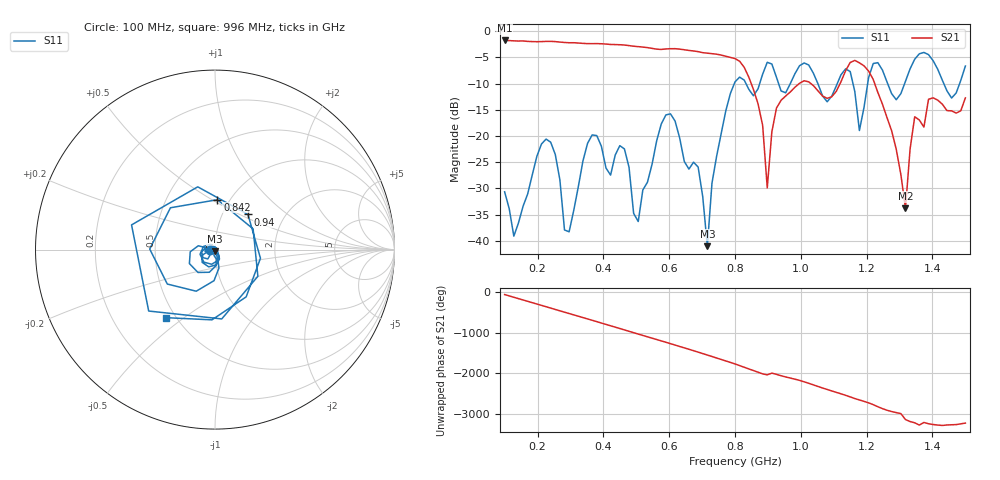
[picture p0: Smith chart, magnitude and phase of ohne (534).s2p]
! NanoVNA-App
! Date: 2025-09-25 14:24:57
! Start: 100MHz Stop: 1,5GHz Points: 101
! S-Parameter data: F S11 S21 S12 S22
# Hz S RI R 50
!  Frequency  S11_Real  S11_Imag  S21_Real  S21_Imag  S12_Real  S12_Imag  S22_Real  S22_Imag
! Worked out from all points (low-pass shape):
!   101 points, 100 MHz to 1.5 GHz, reference 50 ohm
!   highest |S21| = -1.79 dB at 100 MHz (marker M1); lowest = -33.8 dB at 1.318 GHz (marker M2)
!   |S21| within 3 dB of the highest: start of sweep to 771.3 MHz
!   lowest |S11| = -41.0 dB at 716 MHz (marker M3), VSWR 1.02, Z = 49.7 - j0.851 ohm
!   |S11| at or under -10 dB: start of sweep to 798 MHz; 833.1 MHz to 875.1 MHz (41.93 MHz wide, 4.91 % of centre); 1.052 GHz to 1.111 GHz (59.07 MHz wide, 5.46 % of centre) (the widest 3 of 7)
!   S12 and S22 are empty: the file has one direction only
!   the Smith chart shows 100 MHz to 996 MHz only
!   S11 on the Smith chart (normalised r, x): 100 MHz: 0.94, -0.01; 842 MHz: 0.88, +0.53; 940 MHz: 1.32, +0.56; 996 MHz: 0.44, -0.43
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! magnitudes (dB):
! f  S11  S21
! 100 MHz  -30.6  -1.8
! 128 MHz  -39.1  -1.9
! 226 MHz  -20.6  -2.0
! 296 MHz  -38.3  -2.2
! 338 MHz  -24.8  -2.3
! 464 MHz  -22.5  -2.7
! 506 MHz  -36.3  -3.0
! 576 MHz  -17.7  -3.5
! 688 MHz  -25.9  -3.9
! 716 MHz  -41.0  -4.2
! 800 MHz  -9.7  -5.2
! 842 MHz  -11.1  -8.8
! 898 MHz  -6.0  -29.9
! 940 MHz  -11.4  -13.2
! 996 MHz  -6.6  -10.0
! 1.038 GHz  -8.0  -10.4
! 1.178 GHz  -19.0  -6.1
! 1.22 GHz  -6.2  -9.2
! 1.276 GHz  -11.9  -19.0
! 1.318 GHz  -9.6  -33.8
! 1.346 GHz  -5.4  -16.3
! 1.5 GHz  -6.7  -12.7
